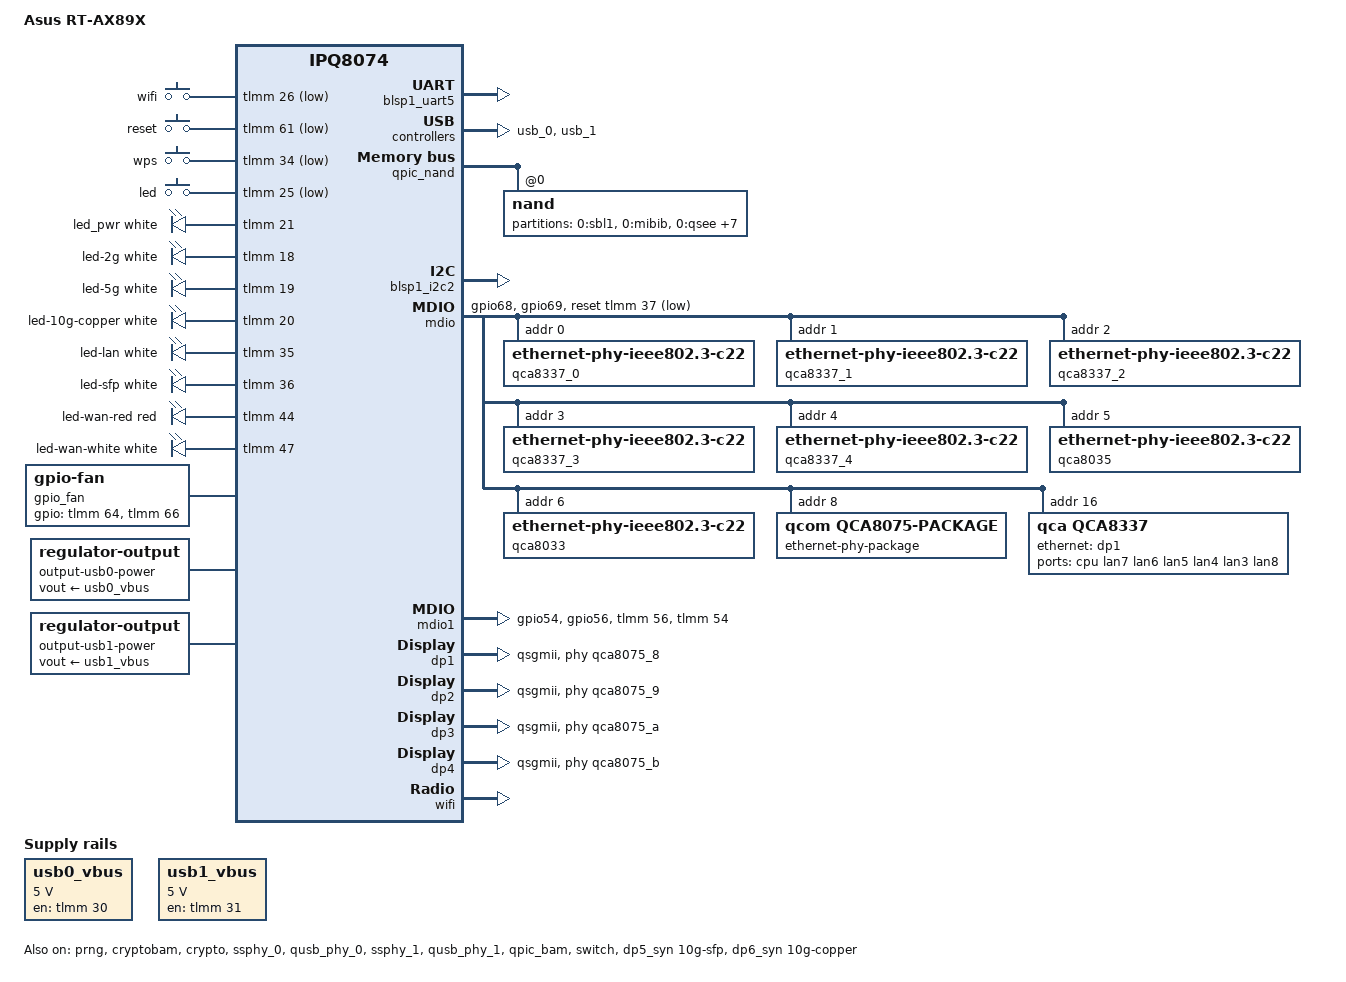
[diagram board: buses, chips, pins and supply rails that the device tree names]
// SPDX-License-Identifier: GPL-2.0-or-later OR MIT
/* Copyright (c) 2024, Robert Marko <robimarko@gmail.com> */

/dts-v1/;

#include "ipq8074.dtsi"
#include "ipq8074-hk-cpu.dtsi"
#include "ipq8074-ess.dtsi"
#include <dt-bindings/gpio/gpio.h>
#include <dt-bindings/input/input.h>
#include <dt-bindings/leds/common.h>

/ {
	model = "Asus RT-AX89X";
	compatible = "asus,rt-ax89x", "qcom,ipq8074";

	aliases {
		serial0 = &blsp1_uart5;
		mdio-gpio0 = &mdio1;
		ethernet0 = &dp1;
		ethernet1 = &dp2;
		ethernet2 = &dp3;
		ethernet3 = &dp4;
		ethernet4 = &dp5_syn;
		ethernet5 = &dp6_syn;
		led-boot = &led_pwr;
		led-failsafe = &led_pwr;
		led-running = &led_pwr;
		led-upgrade = &led_pwr;
	};

	chosen {
		stdout-path = "serial0:115200n8";
		/* We have to override root and ubi device passed by bootloader */
		bootargs-append = " ubi.block=0,jffs2 root=/dev/ubiblock0_4";
	};

	keys {
		compatible = "gpio-keys";
		pinctrl-0 = <&button_pins>;
		pinctrl-names = "default";

		wifi-button {
			label = "wifi";
			gpios = <&tlmm 26 GPIO_ACTIVE_LOW>;
			linux,code = <KEY_WLAN>;
		};

		reset-button {
			label = "reset";
			gpios = <&tlmm 61 GPIO_ACTIVE_LOW>;
			linux,code = <KEY_RESTART>;
		};

		wps-button {
			label = "wps";
			gpios = <&tlmm 34 GPIO_ACTIVE_LOW>;
			linux,code = <KEY_WPS_BUTTON>;
		};

		led-button {
			label = "led";
			gpios = <&tlmm 25 GPIO_ACTIVE_LOW>;
			linux,code = <KEY_LIGHTS_TOGGLE>;
		};
	};

	leds {
		compatible = "gpio-leds";
		pinctrl-0 = <&led_pins>;
		pinctrl-names = "default";

		led_pwr: led-pwr {
			function = LED_FUNCTION_POWER;
			gpios = <&tlmm 21 GPIO_ACTIVE_HIGH>;
			color = <LED_COLOR_ID_WHITE>;
		};

		led-2g {
			function = LED_FUNCTION_WLAN_2GHZ;
			gpios = <&tlmm 18 GPIO_ACTIVE_HIGH>;
			color = <LED_COLOR_ID_WHITE>;
			linux,default-trigger = "phy0radio";
		};

		led-5g {
			function = LED_FUNCTION_WLAN_5GHZ;
			gpios = <&tlmm 19 GPIO_ACTIVE_HIGH>;
			color = <LED_COLOR_ID_WHITE>;
			linux,default-trigger = "phy1radio";
		};

		led-10g-copper {
			function = "aqr10g";
			gpios = <&tlmm 20 GPIO_ACTIVE_HIGH>;
			color = <LED_COLOR_ID_WHITE>;
		};

		led-lan {
			function = LED_FUNCTION_LAN;
			gpios = <&tlmm 35 GPIO_ACTIVE_HIGH>;
			color = <LED_COLOR_ID_WHITE>;
		};

		led-sfp {
			function = "sfp";
			gpios = <&tlmm 36 GPIO_ACTIVE_HIGH>;
			color = <LED_COLOR_ID_WHITE>;
		};

		led-wan-red {
			function = LED_FUNCTION_WAN;
			gpios = <&tlmm 44 GPIO_ACTIVE_HIGH>;
			color = <LED_COLOR_ID_RED>;
		};

		led-wan-white {
			function = LED_FUNCTION_WAN;
			gpios = <&tlmm 47 GPIO_ACTIVE_HIGH>;
			color = <LED_COLOR_ID_WHITE>;
		};
	};

	gpio_fan: gpio-fan {
		compatible = "gpio-fan";
		pinctrl-0 = <&fan_pins>;
		pinctrl-names = "default";
		gpios = <&tlmm 64 GPIO_ACTIVE_HIGH
			 &tlmm 66 GPIO_ACTIVE_HIGH>;
		/*
		 * Not supported upstream, but good to document for
		 * future uses.
		 * It seems that Delta AFB0712VHB fan has its tacho
		 * output connected to GPIO 65.
		 */
		//rpm-gpios = <&tlmm 65 GPIO_ACTIVE_HIGH>;
		gpio-fan,speed-map = <    0 0
				          1600 1
				          1850 2
				          2100 3 >;
		#cooling-cells = <2>;
	};

	usb0_vbus: regulator-usb0-vbus {
		compatible = "regulator-fixed";
		regulator-name = "usb0_vbus";
		regulator-min-microvolt = <5000000>;
		regulator-max-microvolt = <5000000>;
		gpio = <&tlmm 30 GPIO_ACTIVE_HIGH>;
		enable-active-high;
		regulator-boot-on;
	};

	usb1_vbus: regulator-usb1-vbus {
		compatible = "regulator-fixed";
		regulator-name = "usb1_vbus";
		regulator-min-microvolt = <5000000>;
		regulator-max-microvolt = <5000000>;
		gpio = <&tlmm 31 GPIO_ACTIVE_HIGH>;
		enable-active-high;
		regulator-boot-on;
	};

	output-usb0-power {
		compatible = "regulator-output";
		vout-supply = <&usb0_vbus>;
	};

	output-usb1-power {
		compatible = "regulator-output";
		vout-supply = <&usb1_vbus>;
	};
};

&cpu0_thermal {
	trips {
		cpu0_active: cpu-active {
			temperature = <70000>;
			hysteresis = <2000>;
			type = "active";
		};
	};

	cooling-maps {
		map2 {
			trip = <&cpu0_active>;
			cooling-device = <&gpio_fan THERMAL_NO_LIMIT THERMAL_NO_LIMIT>;
		};
	};
};

&cpu1_thermal {
	trips {
		cpu1_active: cpu-active {
			temperature = <70000>;
			hysteresis = <2000>;
			type = "active";
		};
	};

	cooling-maps {
		map2 {
			trip = <&cpu1_active>;
			cooling-device = <&gpio_fan THERMAL_NO_LIMIT THERMAL_NO_LIMIT>;
		};
	};
};

&cpu2_thermal {
	trips {
		cpu2_active: cpu-active {
			temperature = <70000>;
			hysteresis = <2000>;
			type = "active";
		};
	};

	cooling-maps {
		map2 {
			trip = <&cpu2_active>;
			cooling-device = <&gpio_fan THERMAL_NO_LIMIT THERMAL_NO_LIMIT>;
		};
	};
};

&cpu3_thermal {
	trips {
		cpu3_active: cpu-active {
			temperature = <70000>;
			hysteresis = <2000>;
			type = "active";
		};
	};

	cooling-maps {
		map2 {
			trip = <&cpu3_active>;
			cooling-device = <&gpio_fan THERMAL_NO_LIMIT THERMAL_NO_LIMIT>;
		};
	};
};

&cluster_thermal {
	trips {
		cluster_active: cluster-active {
			temperature = <70000>;
			hysteresis = <2000>;
			type = "active";
		};
	};

	cooling-maps {
		map2 {
			trip = <&cluster_active>;
			cooling-device = <&gpio_fan THERMAL_NO_LIMIT THERMAL_NO_LIMIT>;
		};
	};
};

&tlmm {
	button_pins: button-state {
		pins = "gpio25", "gpio26", "gpio34", "gpio61";
		function = "gpio";
		drive-strength = <8>;
		bias-pull-up;
	};

	i2c_pins: i2c-pins {
		pins = "gpio42", "gpio43";
		function = "blsp1_i2c";
		drive-strength = <8>;
		bias-disable;
	};

	mdio_pins: mdio-pins {
		mdc {
			pins = "gpio68";
			function = "mdc";
			drive-strength = <16>;
			bias-pull-up;
		};

		mdio {
			pins = "gpio69";
			function = "mdio";
			drive-strength = <16>;
			bias-pull-up;
		};
	};

	mdio_gpio_pins: mdio-gpio-pins {
		pins = "gpio54", "gpio56";
		function = "gpio";
		drive-strength = <8>;
		bias-pull-up;
	};

	uniphy_pins: uniphy_pinmux {
		mux {
			pins = "gpio60";
			function = "rx2";
			bias-disable;
		};

		sfp_tx_disable {
			pins = "gpio48";
			function = "gpio";
			drive-strength = <8>;
			bias-pull-down;
			output-low;
		};

		sfp_tx_fault {
			pins = "gpio62";
			function = "gpio";
			drive-strength = <8>;
			bias-pull-up;
			output-high;
		};

		sfp_mod_def0 {
			pins = "gpio46";
			function = "gpio";
			drive-strength = <8>;
			bias-pull-up;
		};
	};

	led_pins: led-state {
		power {
			pins = "gpio21";
			function = "gpio";
			drive-strength = <8>;
			bias-pull-up;
		};

		default_off {
			pins = "gpio18", "gpio19", "gpio20", "gpio47",
			       "gpio44", "gpio35", "gpio36";
			function = "gpio";
			drive-strength = <8>;
			bias-pull-down;
		};
	};

	fan_pins: fan-state {
		pins = "gpio64", "gpio66";
		function = "gpio";
		drive-strength = <8>;
		bias-disable;
		output-high;
	};
};

&blsp1_uart5 {
	status = "okay";
};

&prng {
	status = "okay";
};

&cryptobam {
	status = "okay";
};

&crypto {
	status = "okay";
};

&ssphy_0 {
	status = "okay";
};

&qusb_phy_0 {
	status = "okay";
};

&ssphy_1 {
	status = "okay";
};

&qusb_phy_1 {
	status = "okay";
};

&usb_0 {
	status = "okay";
};

&usb_1 {
	status = "okay";
};

&qpic_bam {
	status = "okay";
};

&qpic_nand {
	status = "okay";

	nand@0 {
		reg = <0>;
		nand-ecc-strength = <4>;
		nand-ecc-step-size = <512>;
		nand-bus-width = <8>;

		partitions {
			compatible = "fixed-partitions";
			#address-cells = <1>;
			#size-cells = <1>;

			partition@0 {
				label = "0:sbl1";
				reg = <0x0 0x60000>;
				read-only;
			};

			partition@60000 {
				label = "0:mibib";
				reg = <0x00060000 0x40000>;
				read-only;
			};

			partition@a0000 {
				label = "0:qsee";
				reg = <0x000a0000 0x1e0000>;
				read-only;
			};

			partition@280000 {
				label = "0:devcfg";
				reg = <0x00280000 0x20000>;
				read-only;
			};

			partition@2a0000 {
				label = "0:apdp";
				reg = <0x002a0000 0x20000>;
				read-only;
			};

			partition@2c0000 {
				label = "0:rpm";
				reg = <0x002c0000 0x40000>;
				read-only;
			};

			partition@300000 {
				label = "0:cdt";
				reg = <0x00300000 0x20000>;
				read-only;
			};

			partition@320000 {
				label = "0:appsbl";
				reg = <0x00320000 0xc0000>;
				read-only;
			};

			partition@3e0000 {
				label = "0:appsblenv";
				reg = <0x003e0000 0x20000>;
			};

			partition@400000 {
				compatible = "linux,ubi";
				label = "UBI_DEV";
				reg = <0x00400000 0xfc00000>;
			};
		};
	};
};

&blsp1_i2c2 {
	status = "okay";
};

&mdio {
	status = "okay";

	pinctrl-0 = <&mdio_pins>;
	pinctrl-names = "default";
	reset-gpios = <&tlmm 37 GPIO_ACTIVE_LOW>;

	qca8337_0: ethernet-phy@0 {
		compatible = "ethernet-phy-ieee802.3-c22";
		reg = <0x0>;
	};

	qca8337_1: ethernet-phy@1 {
		compatible = "ethernet-phy-ieee802.3-c22";
		reg = <0x1>;
	};

	qca8337_2: ethernet-phy@2 {
		compatible = "ethernet-phy-ieee802.3-c22";
		reg = <0x2>;
	};

	qca8337_3: ethernet-phy@3 {
		compatible = "ethernet-phy-ieee802.3-c22";
		reg = <0x3>;
	};

	qca8337_4: ethernet-phy@4 {
		compatible = "ethernet-phy-ieee802.3-c22";
		reg = <0x4>;
	};

	/*
	 * Vendor bootloader has path for ethernet-phy@5 hardcoded
	 * and if its there it will delete the node, but since we
	 * need the QCA8035 for DSA lets fool the bootloader by using
	 * ethernet-phy@05 even though it causes DTC to print a warning.
	 */
	qca8035: ethernet-phy@05 {
		compatible = "ethernet-phy-ieee802.3-c22";
		reg = <0x5>;
	};

	qca8033: ethernet-phy@6 {
		compatible = "ethernet-phy-ieee802.3-c22";
		reg = <0x6>;
	};

	ethernet-phy-package@8 {
		#address-cells = <1>;
		#size-cells = <0>;
		compatible = "qcom,qca8075-package";
		reg = <8>;

		qcom,package-mode = "qsgmii";

		qca8075_8: ethernet-phy@8 {
			compatible = "ethernet-phy-ieee802.3-c22";
			reg = <0x8>;
		};

		qca8075_9: ethernet-phy@9 {
			compatible = "ethernet-phy-ieee802.3-c22";
			reg = <0x9>;
		};

		qca8075_a: ethernet-phy@a {
			compatible = "ethernet-phy-ieee802.3-c22";
			reg = <0xa>;
		};

		qca8075_b: ethernet-phy@b {
			compatible = "ethernet-phy-ieee802.3-c22";
			reg = <0xb>;
		};
	};

	qca8337: switch@10 {
		compatible = "qca,qca8337";
		#address-cells = <1>;
		#size-cells = <0>;
		reg = <0x10>;

		ports {
			port@0 {
				reg = <0>;
				label = "cpu";
				ethernet = <&dp1>;
				phy-mode = "rgmii-rxid";
				phy-handle = <&qca8035>;
			};

			port@1 {
				reg = <1>;
				label = "lan7";
				phy-handle = <&qca8337_0>;
			};

			port@2 {
				reg = <2>;
				label = "lan6";
				phy-handle = <&qca8337_1>;
			};

			port@3 {
				reg = <3>;
				label = "lan5";
				phy-handle = <&qca8337_2>;
			};

			port@4 {
				reg = <4>;
				label = "lan4";
				phy-handle = <&qca8337_3>;
			};

			port@5 {
				reg = <5>;
				label = "lan3";
				phy-handle = <&qca8337_4>;
			};

			port@6 {
				reg = <6>;
				label = "lan8";
				phy-mode = "sgmii";
				phy-handle = <&qca8033>;
				managed = "in-band-status";
				qca,sgmii-enable-pll;
			};
		};
	};
};

&soc {
	/*
	 * This is techically incorrect and will cause a DTC warning as
	 * all nodes under a bus are supposed to have addresses as well
	 * but its required as bootloader has this path hardcoded in
	 * order to enable AQR113C on newer revisions.
	 */
	mdio1: mdio1 {
		compatible = "virtual,mdio-gpio";
		pinctrl-0 = <&mdio_gpio_pins>;
		pinctrl-names = "default";
		gpios = <&tlmm 56 GPIO_ACTIVE_HIGH>,
			<&tlmm 54 GPIO_ACTIVE_HIGH>;
		#address-cells = <1>;
		#size-cells = <0>;

		/*
		 * PCB R5.00, AQR113C
		 * No idea why the bitbanged this one.
		 * @5 is wrong, but their bootloader has it hardcoded in
		 * order to dynamically enable the PHY for newer HW.
		 */
		aqr113c: ethernet-phy@5 {
			status = "disabled";
			compatible ="ethernet-phy-ieee802.3-c45";
			reg = <8>;
		};
	};
};

&switch {
	status = "okay";

	pinctrl-0 = <&uniphy_pins>;
	pinctrl-names = "default";

	switch_lan_bmp = <(ESS_PORT1 | ESS_PORT2 | ESS_PORT3 | ESS_PORT5 | ESS_PORT6)>; /* lan port bitmap */
	switch_wan_bmp = <ESS_PORT4>; /* wan port bitmap */
	switch_mac_mode = <MAC_MODE_QSGMII>; /* mac mode for uniphy instance0*/
	switch_mac_mode1 = <MAC_MODE_10GBASE_R>; /* mac mode for uniphy instance1*/
	switch_mac_mode2 = <MAC_MODE_USXGMII>; /* mac mode for uniphy instance2*/

	qcom,port_phyinfo {
		port@0 {
			port_id = <1>;
			phy_address = <0x8>;
		};
		port@1 {
			port_id = <2>;
			phy_address = <0x9>;
		};
		port@2 {
			port_id = <3>;
			phy_address = <0xa>;
		};
		port@3 {
			port_id = <4>;
			phy_address = <0xb>;
		};

		sfp: port@4 {
			port_id = <5>;
			phy_address = <30>;
			phy_i2c_address = <30>;
			phy-i2c-mode; /*i2c access phy */
			media-type = "sfp"; /* fiber mode */
			sfp_tx_dis_pin = <&tlmm 48 GPIO_ACTIVE_HIGH>;
			sfp_mod_present_pin = <&tlmm 46 GPIO_ACTIVE_LOW>;
		};

		/* PCB R5.00, AQR113C */
		port@5_113c {
			status = "disabled";
			port_id = <6>;
			phy_address = <8>;
			ethernet-phy-ieee802.3-c45;
			mdiobus = <&mdio1>;
		};
	};
};

&edma {
	status = "okay";
};

&dp1 {
	status = "okay";
	phy-mode = "qsgmii";
	phy-handle = <&qca8075_8>;
	label = "switch";
};

&dp2 {
	status = "okay";
	phy-mode = "qsgmii";
	phy-handle = <&qca8075_9>;
	label = "lan2";
};

&dp3 {
	status = "okay";
	phy-mode = "qsgmii";
	phy-handle = <&qca8075_a>;
	label = "lan1";
};

&dp4 {
	status = "okay";
	phy-mode = "qsgmii";
	phy-handle = <&qca8075_b>;
	label = "wan";
};

&dp5_syn {
	status = "okay";
	phy-handle = <&sfp>;
	label = "10g-sfp";
};

&dp6_syn {
	status = "okay";
	phy-handle = <&aqr113c>;
	label = "10g-copper";
};

&wifi {
	status = "okay";
	qcom,ath11k-calibration-variant = "Asus-RT-AX89X";
};
